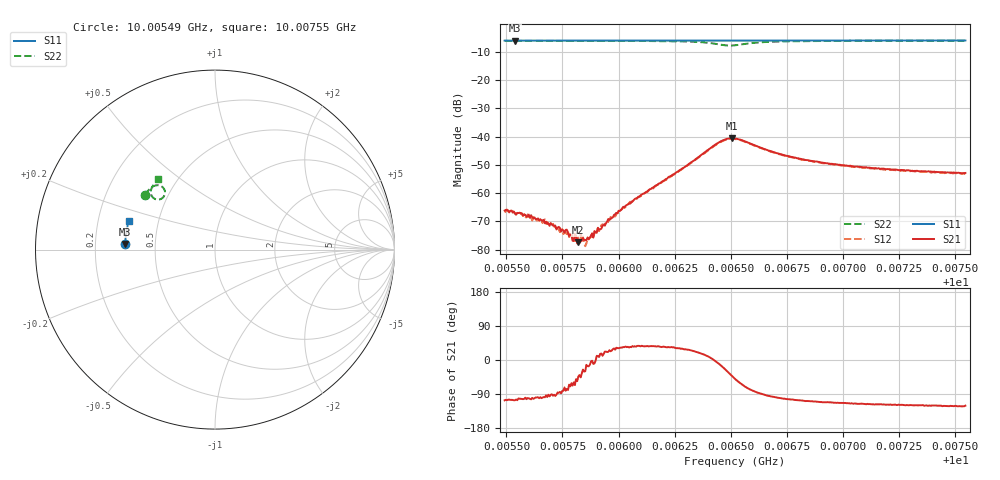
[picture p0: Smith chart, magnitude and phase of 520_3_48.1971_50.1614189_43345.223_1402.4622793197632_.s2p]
#  HZ  S  RI  R  50.00
! Rohde & Schwarz Vector Network Analyzer
! Rohde-Schwarz,ZNB20-2Port,1311601062101988,3.16
! Created: UTC 3/20/2024, 11:59:21 AM
! freq[Hz]  re:S11  im:S11  re:S21  im:S21  re:S12  im:S12  re:S22  im:S22
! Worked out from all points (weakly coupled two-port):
!   401 points, 10.00549 GHz to 10.00755 GHz, reference 50 ohm
!   highest |S21| = -40.55 dB at 10.0065 GHz (marker M1); lowest = -77.4 dB at 10.00582 GHz (marker M2)
!   lowest |S11| = -6.0 dB at 10.00554 GHz (marker M3), VSWR 3.01, Z = 16.6 + j1.4 ohm
!   |S11| at or under -10 dB: nowhere
!   |S22| runs from -7.7 to -6.0 dB; largest |S21 - S12| = 0.00058
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1.0005492e10  -0.5005 0.0285  -0.000139 -0.000475  -8.42e-05 -0.000452  -0.3909 0.3057
1.0005538e10  -0.5002 0.0315  -0.000121 -0.000418  -0.00011 -0.000429  -0.3889 0.3085
1.0005559e10  -0.5002 0.033  -9.48e-05 -0.000441  -0.000104 -0.000438  -0.3881 0.3097
1.0005661e10  -0.5 0.0397  -5.16e-05 -0.000326  -5.93e-05 -0.000291  -0.3834 0.3161
1.0005708e10  -0.4997 0.0427  -1.92e-05 -0.000268  -1.54e-05 -0.000287  -0.3813 0.3189
1.0005733e10  -0.4996 0.0444  1.53e-05 -0.000253  3.03e-05 -0.000227  -0.38 0.3203
1.0005764e10  -0.4996 0.0463  3.5e-05 -0.000222  5.02e-05 -0.000195  -0.3784 0.3223
1.0005785e10  -0.4995 0.0476  6.53e-05 -0.000176  8.95e-05 -0.000167  -0.3773 0.3236
1.0005805e10  -0.4994 0.049  7.75e-05 -0.000175  7.07e-05 -0.000113  -0.3763 0.3248
1.0005821e10  -0.4995 0.0499  9.77e-05 -9.26e-05  9.38e-05 -0.000139  -0.3754 0.3258
1.0005836e10  -0.4993 0.0509  0.000117 -8.38e-05  0.000117 -8.39e-05  -0.3748 0.3267
1.0005857e10  -0.4992 0.0523  0.000144 -3.28e-05  0.000121 -4.45e-05  -0.3735 0.328
1.0005872e10  -0.4992 0.0533  0.00016 -3.63e-05  0.00016 -2.97e-05  -0.3725 0.3291
1.0006042e10  -0.498 0.0644  0.000518 0.00036  0.00051 0.000379  -0.3615 0.3403
1.0006181e10  -0.4971 0.0734  0.00121 0.000874  0.00114 0.000881  -0.3481 0.3504
1.0006443e10  -0.4943 0.0901  0.00764 -0.001  0.00751 -0.000555  -0.2805 0.331
1.0006504e10  -0.4937 0.0935  0.00705 -0.0062  0.0073 -0.00569  -0.2946 0.2861
1.000652e10  -0.4934 0.0944  0.00601 -0.00711  0.00626 -0.00664  -0.3058 0.2804
1.00067e10  -0.4922 0.106  -0.000755 -0.00516  -0.00049 -0.00514  -0.3582 0.3222
1.0006864e10  -0.4903 0.1165  -0.00119 -0.00352  -0.00104 -0.00354  -0.3513 0.3465
1.0007209e10  -0.4854 0.1381  -0.00125 -0.00236  -0.0011 -0.00236  -0.3326 0.3725
1.0007548e10  -0.4796 0.1595  -0.00116 -0.00197  -0.00107 -0.00191  -0.315 0.3908
